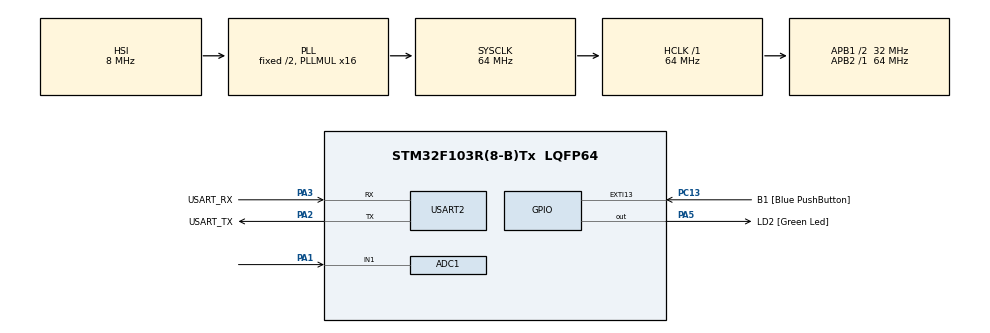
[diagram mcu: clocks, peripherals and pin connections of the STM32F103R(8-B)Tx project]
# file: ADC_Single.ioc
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ADC1.Channel-0\#ChannelRegularConversion=ADC_CHANNEL_1
ADC1.ContinuousConvMode=ENABLE
ADC1.NbrOfConversionFlag=1
ADC1.Rank-0\#ChannelRegularConversion=1
ADC1.SamplingTime-0\#ChannelRegularConversion=ADC_SAMPLETIME_239CYCLES_5
ADC1.master=1
Mcu.Family=STM32F1
Mcu.Name=STM32F103R(8-B)Tx
Mcu.Package=LQFP64
NVIC.EXTI15_10_IRQn=true\:0\:0\:false\:false\:true\:true\:true\:true
NVIC.PriorityGroup=NVIC_PRIORITYGROUP_4
PA1.Signal=ADCx_IN1
PA13.GPIO_Label=TMS
PA13.Mode=Serial_Wire
PA13.Signal=SYS_JTMS-SWDIO
PA14.GPIO_Label=TCK
PA14.Mode=Serial_Wire
PA14.Signal=SYS_JTCK-SWCLK
PA2.GPIO_Label=USART_TX
PA2.GPIO_Mode=GPIO_MODE_AF_PP
PA2.GPIO_PuPd=GPIO_NOPULL
PA2.GPIO_Speed=GPIO_SPEED_FREQ_LOW
PA2.Mode=Asynchronous
PA2.Signal=USART2_TX
PA3.GPIO_Label=USART_RX
PA3.GPIO_Mode=GPIO_MODE_INPUT
PA3.GPIO_PuPd=GPIO_NOPULL
PA3.Mode=Asynchronous
PA3.Signal=USART2_RX
PA5.GPIO_Label=LD2 [Green Led]
PA5.GPIO_ModeDefaultOutputPP=GPIO_MODE_OUTPUT_PP
PA5.GPIO_PuPd=GPIO_NOPULL
PA5.GPIO_Speed=GPIO_SPEED_FREQ_LOW
PA5.Signal=GPIO_Output
PB3.GPIO_Label=SWO
PB3.Signal=SYS_JTDO-TRACESWO
PC13-TAMPER-RTC.GPIO_Label=B1 [Blue PushButton]
PC13-TAMPER-RTC.GPIO_PuPd=GPIO_NOPULL
PC13-TAMPER-RTC.Signal=GPXTI13
PC14-OSC32_IN.Mode=LSE-External-Oscillator
PC14-OSC32_IN.Signal=RCC_OSC32_IN
PC15-OSC32_OUT.Mode=LSE-External-Oscillator
PC15-OSC32_OUT.Signal=RCC_OSC32_OUT
PD0-OSC_IN.Mode=HSE-External-Clock-Source
PD0-OSC_IN.Signal=RCC_OSC_IN
PD1-OSC_OUT.Mode=HSE-External-Clock-Source
PD1-OSC_OUT.Signal=RCC_OSC_OUT
ProjectManager.HeapSize=0x200
ProjectManager.StackSize=0x400
ProjectManager.TargetToolchain=STM32CubeIDE
RCC.ADCPresc=RCC_ADCPCLK2_DIV8
RCC.AHBFreq_Value=64000000
RCC.APB1CLKDivider=RCC_HCLK_DIV2
RCC.APB1Freq_Value=32000000
RCC.APB1TimFreq_Value=64000000
RCC.APB2Freq_Value=64000000
RCC.APB2TimFreq_Value=64000000
RCC.HCLKFreq_Value=64000000
RCC.PLLMUL=RCC_PLL_MUL16
RCC.RTCClockSelection=RCC_RTCCLKSOURCE_LSE
RCC.SYSCLKFreq_VALUE=64000000
RCC.SYSCLKSource=RCC_SYSCLKSOURCE_PLLCLK
RCC.USBFreq_Value=64000000
SH.ADCx_IN1.0=ADC1_IN1,IN1
USART2.VirtualMode=VM_ASYNC
board=NUCLEO-F103RB

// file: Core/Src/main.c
/* USER CODE BEGIN Header */
/**
  ******************************************************************************
  * @file           : main.c
  * @brief          : Main program body
  ******************************************************************************
  * @attention
  *
  * Copyright (c) 2026 STMicroelectronics.
  * All rights reserved.
  *
  * This software is licensed under terms that can be found in the LICENSE file
  * in the root directory of this software component.
  * If no LICENSE file comes with this software, it is provided AS-IS.
  *
  ******************************************************************************
  */
/**
 * 01_ADC_Single  —  [계층: HAL]  ADC1 단일 채널(PA1 = ADC1_IN1) 폴링 변환 + UART 출력
 *
 * 이 예제는 PA1 의 원시 12비트 값(0~4095)과 mV 환산값을 출력한다 (VDDA = 3.3V 가정).
 *
 * 하드웨어 대응 (RM0008)
 *   HAL_ADCEx_Calibration_Start : ADC1_CR2.CAL = 1 (변환 전 보정, 오프셋 오차 감소)
 *   HAL_ADC_Start               : ADC1_CR2.ADON (연속/단일 모드 설정은 CONT 비트)
 *   HAL_ADC_PollForConversion   : ADC1_SR.EOC 폴링
 *   HAL_ADC_GetValue            : ADC1_DR 읽기 (읽으면 EOC 가 자동으로 지워짐)
 *   샘플링 시간 239.5 사이클 (ADC1_SMPR2), 변환 12.5 사이클
 *
 * 인터럽트/콜백 없음 (폴링 변환). ISR 은 SysTick_Handler(HAL_Delay 용)뿐이다.
 * printf 의 UART 출력은 01_USART_printf 와 같은 방식이다.
 */
/* USER CODE END Header */
#include "main.h"

/* USER CODE BEGIN Includes */
#include <stdio.h>

/* USER CODE END Includes */

ADC_HandleTypeDef hadc1;

UART_HandleTypeDef huart2;

void SystemClock_Config(void);
static void MX_GPIO_Init(void);
static void MX_USART2_UART_Init(void);
static void MX_ADC1_Init(void);

/* USER CODE BEGIN 0 */
#ifdef __GNUC__
#define PUTCHAR_PROTOTYPE int __io_putchar(int ch)
#else
#define PUTCHAR_PROTOTYPE int fputc(int ch, FILE *f)
#endif
PUTCHAR_PROTOTYPE {
    if (ch == '\n')
        HAL_UART_Transmit(&huart2, (uint8_t*) "\r", 1, 0xFFFF);
    HAL_UART_Transmit(&huart2, (uint8_t*) &ch, 1, 0xFFFF);
    return ch;
}
/* USER CODE END 0 */

int main(void)
{

  /* MCU Configuration--------------------------------------------------------*/

  /* Reset of all peripherals, Initializes the Flash interface and the Systick. */
  HAL_Init();

  /* Configure the system clock */
  SystemClock_Config();

  /* Initialize all configured peripherals */
  MX_GPIO_Init();
  MX_USART2_UART_Init();
  MX_ADC1_Init();

  /* Infinite loop */
  /* USER CODE BEGIN WHILE */
  // Start ADC Calibration
  if( HAL_ADCEx_Calibration_Start(&hadc1) != HAL_OK )
  {
    Error_Handler();
  }
  if( HAL_ADC_Start(&hadc1) != HAL_OK )
  {
    Error_Handler();
  }

  uint16_t adc1;

  while (1)
  {
    // ADC1_SR.EOC 플래그 대기 후 ADC1_DR에서 PA1(ADC1_IN1) 변환값(12bit, 0~4095) 읽기
    if (HAL_ADC_PollForConversion(&hadc1, 100) != HAL_OK)
    {
      Error_Handler();
    }
    adc1 = HAL_ADC_GetValue(&hadc1);
    printf("ADC PA1 = %d (%d mV)\n", adc1, (int)(adc1 * 3300UL / 4095));
    /* USER CODE END WHILE */

    /* USER CODE BEGIN 3 */
    HAL_Delay(200);
  }
  /* USER CODE END 3 */
}

void SystemClock_Config(void)
{
  RCC_OscInitTypeDef RCC_OscInitStruct = {0};
  RCC_ClkInitTypeDef RCC_ClkInitStruct = {0};
  RCC_PeriphCLKInitTypeDef PeriphClkInit = {0};

  /** Initializes the RCC Oscillators according to the specified parameters
  * in the RCC_OscInitTypeDef structure.
  */
  RCC_OscInitStruct.OscillatorType = RCC_OSCILLATORTYPE_HSI;
  RCC_OscInitStruct.HSIState = RCC_HSI_ON;
  RCC_OscInitStruct.HSICalibrationValue = RCC_HSICALIBRATION_DEFAULT;
  RCC_OscInitStruct.PLL.PLLState = RCC_PLL_ON;
  RCC_OscInitStruct.PLL.PLLSource = RCC_PLLSOURCE_HSI_DIV2;
  RCC_OscInitStruct.PLL.PLLMUL = RCC_PLL_MUL16;
  if (HAL_RCC_OscConfig(&RCC_OscInitStruct) != HAL_OK)
  {
    Error_Handler();
  }

  /** Initializes the CPU, AHB and APB buses clocks
  */
  RCC_ClkInitStruct.ClockType = RCC_CLOCKTYPE_HCLK|RCC_CLOCKTYPE_SYSCLK
                              |RCC_CLOCKTYPE_PCLK1|RCC_CLOCKTYPE_PCLK2;
  RCC_ClkInitStruct.SYSCLKSource = RCC_SYSCLKSOURCE_PLLCLK;
  RCC_ClkInitStruct.AHBCLKDivider = RCC_SYSCLK_DIV1;
  RCC_ClkInitStruct.APB1CLKDivider = RCC_HCLK_DIV2;
  RCC_ClkInitStruct.APB2CLKDivider = RCC_HCLK_DIV1;

  if (HAL_RCC_ClockConfig(&RCC_ClkInitStruct, FLASH_LATENCY_2) != HAL_OK)
  {
    Error_Handler();
  }
  PeriphClkInit.PeriphClockSelection = RCC_PERIPHCLK_ADC;
  PeriphClkInit.AdcClockSelection = RCC_ADCPCLK2_DIV8;
  if (HAL_RCCEx_PeriphCLKConfig(&PeriphClkInit) != HAL_OK)
  {
    Error_Handler();
  }
}

static void MX_ADC1_Init(void)
{

  ADC_ChannelConfTypeDef sConfig = {0};

  /** Common config
  */
  hadc1.Instance = ADC1;
  hadc1.Init.ScanConvMode = ADC_SCAN_DISABLE;
  hadc1.Init.ContinuousConvMode = ENABLE;
  hadc1.Init.DiscontinuousConvMode = DISABLE;
  hadc1.Init.ExternalTrigConv = ADC_SOFTWARE_START;
  hadc1.Init.DataAlign = ADC_DATAALIGN_RIGHT;
  hadc1.Init.NbrOfConversion = 1;
  if (HAL_ADC_Init(&hadc1) != HAL_OK)
  {
    Error_Handler();
  }

  /** Configure Regular Channel
  */
  sConfig.Channel = ADC_CHANNEL_1;
  sConfig.Rank = ADC_REGULAR_RANK_1;
  sConfig.SamplingTime = ADC_SAMPLETIME_239CYCLES_5;
  if (HAL_ADC_ConfigChannel(&hadc1, &sConfig) != HAL_OK)
  {
    Error_Handler();
  }

}

static void MX_USART2_UART_Init(void)
{

  huart2.Instance = USART2;
  huart2.Init.BaudRate = 115200;
  huart2.Init.WordLength = UART_WORDLENGTH_8B;
  huart2.Init.StopBits = UART_STOPBITS_1;
  huart2.Init.Parity = UART_PARITY_NONE;
  huart2.Init.Mode = UART_MODE_TX_RX;
  huart2.Init.HwFlowCtl = UART_HWCONTROL_NONE;
  huart2.Init.OverSampling = UART_OVERSAMPLING_16;
  if (HAL_UART_Init(&huart2) != HAL_OK)
  {
    Error_Handler();
  }

}

static void MX_GPIO_Init(void)
{
  GPIO_InitTypeDef GPIO_InitStruct = {0};

  /* GPIO Ports Clock Enable */
  __HAL_RCC_GPIOC_CLK_ENABLE();
  __HAL_RCC_GPIOD_CLK_ENABLE();
  __HAL_RCC_GPIOA_CLK_ENABLE();
  __HAL_RCC_GPIOB_CLK_ENABLE();

  /*Configure GPIO pin Output Level */
  HAL_GPIO_WritePin(LD2_GPIO_Port, LD2_Pin, GPIO_PIN_RESET);

  /*Configure GPIO pin : B1_Pin */
  GPIO_InitStruct.Pin = B1_Pin;
  GPIO_InitStruct.Mode = GPIO_MODE_IT_RISING;
  GPIO_InitStruct.Pull = GPIO_NOPULL;
  HAL_GPIO_Init(B1_GPIO_Port, &GPIO_InitStruct);

  /*Configure GPIO pin : LD2_Pin */
  GPIO_InitStruct.Pin = LD2_Pin;
  GPIO_InitStruct.Mode = GPIO_MODE_OUTPUT_PP;
  GPIO_InitStruct.Pull = GPIO_NOPULL;
  GPIO_InitStruct.Speed = GPIO_SPEED_FREQ_LOW;
  HAL_GPIO_Init(LD2_GPIO_Port, &GPIO_InitStruct);

  /* EXTI interrupt init*/
  HAL_NVIC_SetPriority(EXTI15_10_IRQn, 0, 0);
  HAL_NVIC_EnableIRQ(EXTI15_10_IRQn);

}

void Error_Handler(void)
{
  __disable_irq();
  while (1)
  {
  }
}
